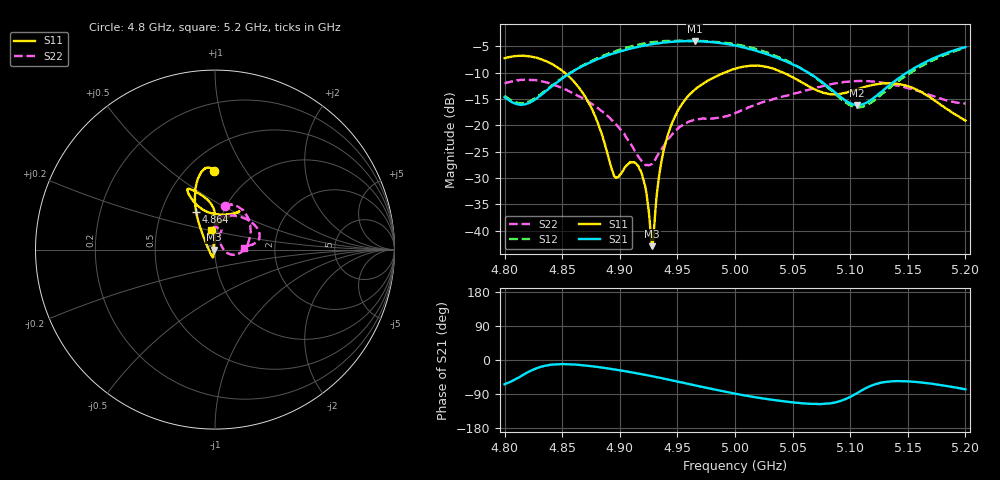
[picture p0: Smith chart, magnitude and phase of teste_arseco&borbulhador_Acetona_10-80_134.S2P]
! Network Analyzer HP8722D
! Hewlett-Packard
! Data name: Linha & Wilkinson
! Saver's name: Rodrigo Anjos
! Comments: Teste da utilização de aquisição
! continua pelo VNA HP8722D
! Time and date: 25/4/2025 16:23
!  Frequency  S11  S21  S12  S22
# HZ  S  MA R 50
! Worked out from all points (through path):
!   401 points, 4.8 GHz to 5.2 GHz, reference 50 ohm
!   highest |S21| = -3.96 dB at 4.965 GHz (marker M1); lowest = -16.1 dB at 5.106 GHz (marker M2)
!   lowest |S11| = -42.9 dB at 4.928 GHz (marker M3), VSWR 1.01, Z = 49.3 - j0.0877 ohm
!   |S11| at or under -10 dB: 4.852 GHz to 4.991 GHz (138.4 MHz wide, 2.81 % of centre); 5.042 GHz to end of sweep
!   |S22| runs from -27.6 to -11.3 dB; largest |S21 - S12| = 1.2
!   S11 on the Smith chart (normalised r, x): 4.8 GHz: 0.67, +0.72; 4.864 GHz: 0.75, +0.33; 5.2 GHz: 0.94, +0.21
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4.8e9  0.4353 90.8  0.1859 -64.0  0.1914 69.6  0.2494 77.2
4.82e9  0.4537 97.0  0.1614 -32.5  0.1669 98.3  0.2715 61.8
4.864e9  0.2323 116.6  0.3492 -12.7  0.3516 121.1  0.1903 12.0
4.867e9  0.2093 118.3  0.3626 -13.7  0.3665 120.8  0.1834 8.7
4.88e9  0.1118 128.6  0.4223 -18.2  0.4318 118.4  0.1488 -5.0
4.896e9  0.0324 -165.8  0.4868 -25.1  0.5044 113.3  0.1047 -15.9
4.91e9  0.04452 -106.6  0.5387 -32.5  0.5641 107.2  0.06503 -13.8
4.917e9  0.03864 -103.1  0.5609 -36.2  0.5888 103.7  0.04877 -1.3
4.922e9  0.02654 -106.1  0.5756 -39.2  0.6013 100.9  0.0422 15.9
4.928e9  0.007128 -172.8  0.5911 -42.8  0.6177 97.2  0.04312 40.3
4.93e9  0.01153 123.0  0.5953 -43.9  0.62 95.9  0.04605 47.6
4.934e9  0.03253 100.2  0.6035 -46.6  0.6285 93.4  0.05441 58.1
4.939e9  0.06349 93.2  0.6141 -49.7  0.6343 90.1  0.06599 65.7
4.946e9  0.1095 90.0  0.6234 -54.3  0.6381 85.8  0.08359 70.0
4.965e9  0.218 91.1  0.6337 -66.9  0.6375 73.6  0.1132 71.7
5e9  0.3457 109.2  0.5739 -88.9  0.5924 51.0  0.1303 88.5
5.03e9  0.3542 115.3  0.4655 -104.1  0.4811 34.0  0.1731 85.5
5.067e9  0.226 105.3  0.301 -115.8  0.2989 23.7  0.2218 57.3
5.106e9  0.2201 64.8  0.1558 -87.2  0.148 55.8  0.2635 25.0
5.134e9  0.2518 57.4  0.2408 -56.7  0.2258 88.7  0.2484 12.4
5.17e9  0.1827 70.7  0.422 -62.3  0.4066 84.5  0.1936 6.9
5.2e9  0.1111 100.7  0.5547 -77.3  0.5446 70.2  0.1612 3.9
